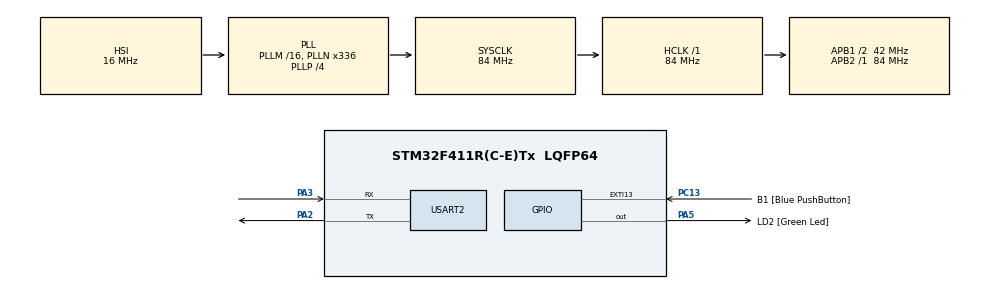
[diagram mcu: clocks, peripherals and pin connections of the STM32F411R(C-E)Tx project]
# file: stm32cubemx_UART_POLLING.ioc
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Mcu.Family=STM32F4
Mcu.Name=STM32F411R(C-E)Tx
Mcu.Package=LQFP64
NVIC.PriorityGroup=NVIC_PRIORITYGROUP_0
NVIC.TIM2_IRQn=true\:0\:0\:false\:false\:true\:true\:true\:true
PA13.GPIO_Label=TMS
PA13.Mode=Serial_Wire
PA13.Signal=SYS_JTMS-SWDIO
PA14.GPIO_Label=TCK
PA14.Mode=Serial_Wire
PA14.Signal=SYS_JTCK-SWCLK
PA2.Mode=Asynchronous
PA2.Signal=USART2_TX
PA3.Mode=Asynchronous
PA3.Signal=USART2_RX
PA5.GPIO_Label=LD2 [Green Led]
PA5.Signal=GPIO_Output
PB3.GPIO_Label=SWO
PB3.Signal=SYS_JTDO-SWO
PC13-ANTI_TAMP.GPIO_Label=B1 [Blue PushButton]
PC13-ANTI_TAMP.GPIO_ModeDefaultEXTI=GPIO_MODE_IT_FALLING
PC13-ANTI_TAMP.Signal=GPXTI13
PC14-OSC32_IN.Mode=LSE-External-Oscillator
PC14-OSC32_IN.Signal=RCC_OSC32_IN
PC15-OSC32_OUT.Mode=LSE-External-Oscillator
PC15-OSC32_OUT.Signal=RCC_OSC32_OUT
PH0\ -\ OSC_IN.Mode=HSE-External-Clock-Source
PH0\ -\ OSC_IN.Signal=RCC_OSC_IN
PH1\ -\ OSC_OUT.Mode=HSE-External-Clock-Source
PH1\ -\ OSC_OUT.Signal=RCC_OSC_OUT
ProjectManager.HeapSize=0x200
ProjectManager.StackSize=0x400
ProjectManager.TargetToolchain=MDK-ARM V5.32
RCC.48MHZClocksFreq_Value=84000000
RCC.AHBFreq_Value=84000000
RCC.APB1CLKDivider=RCC_HCLK_DIV2
RCC.APB1Freq_Value=42000000
RCC.APB1TimFreq_Value=84000000
RCC.APB2Freq_Value=84000000
RCC.APB2TimFreq_Value=84000000
RCC.CortexFreq_Value=84000000
RCC.FLatency-AdvancedSettings=FLASH_LATENCY_2
RCC.HCLKFreq_Value=84000000
RCC.HSE_VALUE=8000000
RCC.HSI_VALUE=16000000
RCC.PLLN=336
RCC.PLLP=RCC_PLLP_DIV4
RCC.SYSCLKFreq_VALUE=84000000
RCC.SYSCLKSource=RCC_SYSCLKSOURCE_PLLCLK
RCC.VCOOutputFreq_Value=336000000
TIM2.Period=20999
TIM2.Prescaler=3999
USART2.VirtualMode=VM_ASYNC
VP_TIM2_VS_ClockSourceINT.Mode=Internal
board=NUCLEO-F411RE

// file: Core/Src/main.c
/* USER CODE BEGIN Header */
/**
  ******************************************************************************
  * @file           : main.c
  * @brief          : Main program body
  ******************************************************************************
  * @attention
  *
  * Copyright (c) 2023 STMicroelectronics.
  * All rights reserved.
  *
  * This software is licensed under terms that can be found in the LICENSE file
  * in the root directory of this software component.
  * If no LICENSE file comes with this software, it is provided AS-IS.
  *
  ******************************************************************************
  */
/* USER CODE END Header */
#include "main.h"

/* USER CODE BEGIN Includes */
#include <string.h>
/* USER CODE END Includes */

TIM_HandleTypeDef htim2;

UART_HandleTypeDef huart2;

void SystemClock_Config(void);
static void MX_GPIO_Init(void);
static void MX_TIM2_Init(void);
static void MX_USART2_UART_Init(void);

int main(void)
{
  /* USER CODE BEGIN 1 */
	uint8_t value='F';//存放接收的数据
	char message_reset[]  ="The system will reset\r\n";
	char message_begin[]  ="The system will start\r\n";
	char message_stop[]  ="The system will stop\r\n";
  /* USER CODE END 1 */

  /* MCU Configuration--------------------------------------------------------*/

  /* Reset of all peripherals, Initializes the Flash interface and the Systick. */
  HAL_Init();

  /* Configure the system clock */
  SystemClock_Config();

  /* Initialize all configured peripherals */
  MX_GPIO_Init();
  MX_TIM2_Init();
  MX_USART2_UART_Init();

  /* Infinite loop */
  /* USER CODE BEGIN WHILE */
  while (1)
  {
		//检查串口是否收到新的数据，收到的数据存放在value中，如果没有收到数据，通过HAL_Delay函数延时100毫秒
		while( HAL_UART_Receive(&huart2,(uint8_t *)&value,1,10000) != HAL_OK)
				HAL_Delay(100);
		//判断收到的是什么字符，随后会送对应的文本信息到上位机回显
		switch(value)
		{
			case 'R':
				HAL_UART_Transmit(&huart2, (const uint8_t*)&message_reset, strlen(message_reset),500);				break;
			case 'B':
				HAL_UART_Transmit(&huart2, (const uint8_t*)&message_begin, strlen(message_begin),500);				break;
			case 'S':
				HAL_UART_Transmit(&huart2, (const uint8_t*)&message_stop, strlen(message_stop),1000);			  	break;
			default:				break;
		}
    /* USER CODE END WHILE */

  }
}

void SystemClock_Config(void)
{
  RCC_OscInitTypeDef RCC_OscInitStruct = {0};
  RCC_ClkInitTypeDef RCC_ClkInitStruct = {0};

  /** Configure the main internal regulator output voltage
  */
  __HAL_RCC_PWR_CLK_ENABLE();
  __HAL_PWR_VOLTAGESCALING_CONFIG(PWR_REGULATOR_VOLTAGE_SCALE1);

  /** Initializes the RCC Oscillators according to the specified parameters
  * in the RCC_OscInitTypeDef structure.
  */
  RCC_OscInitStruct.OscillatorType = RCC_OSCILLATORTYPE_HSI;
  RCC_OscInitStruct.HSIState = RCC_HSI_ON;
  RCC_OscInitStruct.HSICalibrationValue = RCC_HSICALIBRATION_DEFAULT;
  RCC_OscInitStruct.PLL.PLLState = RCC_PLL_ON;
  RCC_OscInitStruct.PLL.PLLSource = RCC_PLLSOURCE_HSI;
  RCC_OscInitStruct.PLL.PLLM = 16;
  RCC_OscInitStruct.PLL.PLLN = 336;
  RCC_OscInitStruct.PLL.PLLP = RCC_PLLP_DIV4;
  RCC_OscInitStruct.PLL.PLLQ = 4;
  if (HAL_RCC_OscConfig(&RCC_OscInitStruct) != HAL_OK)
  {
    Error_Handler();
  }

  /** Initializes the CPU, AHB and APB buses clocks
  */
  RCC_ClkInitStruct.ClockType = RCC_CLOCKTYPE_HCLK|RCC_CLOCKTYPE_SYSCLK
                              |RCC_CLOCKTYPE_PCLK1|RCC_CLOCKTYPE_PCLK2;
  RCC_ClkInitStruct.SYSCLKSource = RCC_SYSCLKSOURCE_PLLCLK;
  RCC_ClkInitStruct.AHBCLKDivider = RCC_SYSCLK_DIV1;
  RCC_ClkInitStruct.APB1CLKDivider = RCC_HCLK_DIV2;
  RCC_ClkInitStruct.APB2CLKDivider = RCC_HCLK_DIV1;

  if (HAL_RCC_ClockConfig(&RCC_ClkInitStruct, FLASH_LATENCY_2) != HAL_OK)
  {
    Error_Handler();
  }
}

static void MX_TIM2_Init(void)
{

  TIM_ClockConfigTypeDef sClockSourceConfig = {0};
  TIM_MasterConfigTypeDef sMasterConfig = {0};

  htim2.Instance = TIM2;
  htim2.Init.Prescaler = 3999;
  htim2.Init.CounterMode = TIM_COUNTERMODE_UP;
  htim2.Init.Period = 20999;
  htim2.Init.ClockDivision = TIM_CLOCKDIVISION_DIV1;
  htim2.Init.AutoReloadPreload = TIM_AUTORELOAD_PRELOAD_DISABLE;
  if (HAL_TIM_Base_Init(&htim2) != HAL_OK)
  {
    Error_Handler();
  }
  sClockSourceConfig.ClockSource = TIM_CLOCKSOURCE_INTERNAL;
  if (HAL_TIM_ConfigClockSource(&htim2, &sClockSourceConfig) != HAL_OK)
  {
    Error_Handler();
  }
  sMasterConfig.MasterOutputTrigger = TIM_TRGO_RESET;
  sMasterConfig.MasterSlaveMode = TIM_MASTERSLAVEMODE_DISABLE;
  if (HAL_TIMEx_MasterConfigSynchronization(&htim2, &sMasterConfig) != HAL_OK)
  {
    Error_Handler();
  }

}

static void MX_USART2_UART_Init(void)
{

  huart2.Instance = USART2;
  huart2.Init.BaudRate = 115200;
  huart2.Init.WordLength = UART_WORDLENGTH_8B;
  huart2.Init.StopBits = UART_STOPBITS_1;
  huart2.Init.Parity = UART_PARITY_NONE;
  huart2.Init.Mode = UART_MODE_TX_RX;
  huart2.Init.HwFlowCtl = UART_HWCONTROL_NONE;
  huart2.Init.OverSampling = UART_OVERSAMPLING_16;
  if (HAL_UART_Init(&huart2) != HAL_OK)
  {
    Error_Handler();
  }

}

static void MX_GPIO_Init(void)
{
  GPIO_InitTypeDef GPIO_InitStruct = {0};

  /* GPIO Ports Clock Enable */
  __HAL_RCC_GPIOC_CLK_ENABLE();
  __HAL_RCC_GPIOH_CLK_ENABLE();
  __HAL_RCC_GPIOA_CLK_ENABLE();
  __HAL_RCC_GPIOB_CLK_ENABLE();

  /*Configure GPIO pin Output Level */
  HAL_GPIO_WritePin(LD2_GPIO_Port, LD2_Pin, GPIO_PIN_RESET);

  /*Configure GPIO pin : B1_Pin */
  GPIO_InitStruct.Pin = B1_Pin;
  GPIO_InitStruct.Mode = GPIO_MODE_IT_FALLING;
  GPIO_InitStruct.Pull = GPIO_NOPULL;
  HAL_GPIO_Init(B1_GPIO_Port, &GPIO_InitStruct);

  /*Configure GPIO pin : LD2_Pin */
  GPIO_InitStruct.Pin = LD2_Pin;
  GPIO_InitStruct.Mode = GPIO_MODE_OUTPUT_PP;
  GPIO_InitStruct.Pull = GPIO_NOPULL;
  GPIO_InitStruct.Speed = GPIO_SPEED_FREQ_LOW;
  HAL_GPIO_Init(LD2_GPIO_Port, &GPIO_InitStruct);

}

void Error_Handler(void)
{
  __disable_irq();
  while (1)
  {
  }
}
